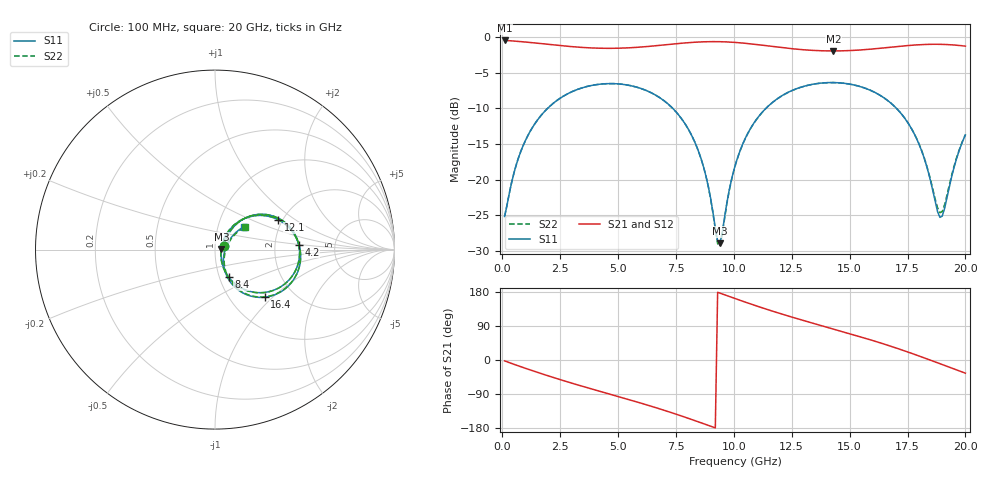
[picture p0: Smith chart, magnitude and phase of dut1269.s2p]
! Touchstone file exported from HFSS 2026.1.0
!  File:  C:/ffzhzh/LocalFiles/Ansys_Project_Files/temp_train_TSV_RDL_1269_1783328289_38820.aedt
!  Generated:  05:12:44 PM Jul  6, 2026
!  Design:  TSV_RDL
!  Project:  temp_train_TSV_RDL_1269_1783328289_38820
! Variables:
!  h_bsmrdl = 3um
!  h_ox = 20um
!  h_rdl = 5um
!  h_sub = 83.98um
!  h_tmrdl = 2.01um
!  h_tsv = 83.98um
!  h_via = 3um
!  l_bsmrdl = 938.94um
!  l_sub = 6216.84um
!  l_tmrdl = 724.58um
!  m_sub = 200um
!  pitch = 36.65um
!  r_tsv = 12.31um
!  s_tmrdl = 10um
!  w_bsmrdl = 10.8um
!  w_sub = 500um
!  w_tmrdl = 23.1um
!  x_tsv_center1 = 736.13um
!  x_tsv_center2 = 1685.87um
!  x_tsv_center3 = 2433.55um
!  x_tsv_center4 = 3383.29um
!  x_tsv_center5 = 4130.97um
!  x_tsv_center6 = 5080.71um
# GHz S MA R 50.000000
! Terminal data exported
! Port[1] = TM_RDL1_1_T1
! Port[2] = TM_RDL5_1_T1
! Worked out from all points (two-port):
!   200 points, 100 MHz to 20 GHz, reference 50 ohm
!   highest |S21| = -0.46 dB at 100 MHz (marker M1); lowest = -1.9 dB at 14.3 GHz (marker M2)
!   |S21| within 3 dB of the highest: start of sweep to end of sweep
!   lowest |S11| = -29.0 dB at 9.4 GHz (marker M3), VSWR 1.07, Z = 53.7 + j0.245 ohm
!   |S11| at or under -10 dB: start of sweep to 1.957 GHz; 7.359 GHz to 11.38 GHz (4.025 GHz wide, 42.9 % of centre); 17.02 GHz to end of sweep
!   |S22| runs from -29.4 to -6.4 dB; largest |S21 - S12| = 1.5e-14
!   S11 on the Smith chart (normalised r, x): 100 MHz: 1.11, +0.04; 4.2 GHz: 2.74, +0.19; 8.4 GHz: 1.11, -0.35; 12.1 GHz: 1.90, +0.74; 16.4 GHz: 1.44, -0.89; 20 GHz: 1.33, +0.35
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0.1  0.05501 19.3  0.9486 -2.3  0.9486 -2.3  0.05501 19.3
! Gamma 0 0 0 0
! Port Impedance 50 0 50 0
0.6  0.1265 50.0  0.937 -13.5  0.937 -13.5  0.1265 50.0
1.3  0.2318 47.2  0.9151 -28.2  0.9151 -28.2  0.2318 47.2
2.4  0.3634 31.7  0.8768 -49.9  0.8768 -49.9  0.3634 31.7
3.5  0.4434 14.4  0.8464 -70.1  0.8464 -70.1  0.4434 14.4
4.2  0.4673 3.4  0.8366 -82.4  0.8366 -82.4  0.4674 3.3
5.6  0.4545 -18.9  0.8445 -106.9  0.8445 -106.9  0.4545 -19.0
6.8  0.3758 -38.9  0.8763 -129.0  0.8763 -129.0  0.3759 -39.0
8.4  0.1697 -63.5  0.9236 -161.7  0.9236 -161.7  0.1696 -64.0
8.8  0.1051 -64.3  0.9294 -170.4  0.9294 -170.4  0.1048 -65.1
9.3  0.03694 -22.4  0.9305 178.6  0.9305 178.6  0.03545 -23.5
9.4  0.03568 3.7  0.9299 176.4  0.9299 176.4  0.03402 3.8
10.1  0.1324 53.5  0.9178 161.1  0.9178 161.1  0.1318 54.2
10.9  0.2539 44.7  0.8912 144.3  0.8912 144.3  0.2535 45.2
12.1  0.3899 25.1  0.844 120.7  0.844 120.7  0.3896 25.4
13.4  0.4668 4.0  0.8081 97.3  0.8081 97.3  0.4665 4.3
14.3  0.48 -10.2  0.8006 81.7  0.8006 81.7  0.4798 -9.9
16.4  0.383 -43.8  0.8384 43.8  0.8384 43.8  0.383 -43.4
16.7  0.3531 -48.7  0.848 37.9  0.848 37.9  0.3532 -48.2
17.9  0.1925 -65.0  0.8829 12.8  0.8829 12.8  0.1933 -63.9
18.9  0.05422 -19.2  0.8913 -9.7  0.8913 -9.7  0.05844 -18.5
20  0.2057 38.2  0.8653 -34.7  0.8653 -34.7  0.2071 37.1
